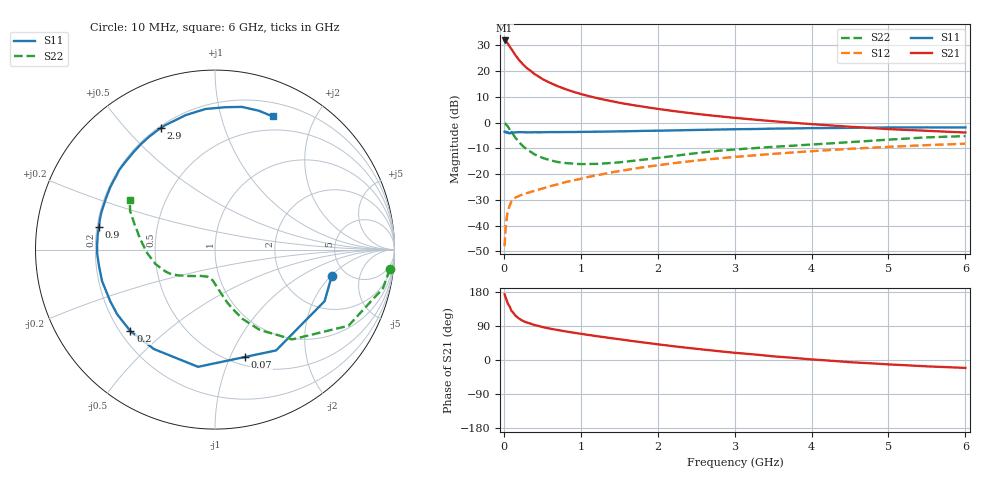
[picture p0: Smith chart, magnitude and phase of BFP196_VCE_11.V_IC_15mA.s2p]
! Infineon Technologies  Discrete & RF Semiconductors
! BFP196
! VCE =  11. V,  IC =  15 mA
! Common Emitter S-Parameters:  Jan 2017
# GHz  S  MA  R  50
!  f  S11  S21  S12  S22
! GHz  MAG  ANG  MAG  ANG  MAG  ANG  MAG  ANG
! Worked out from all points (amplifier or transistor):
!   77 points, 10 MHz to 6 GHz, reference 50 ohm
!   highest |S21| = 31.9 dB at 10 MHz (marker M1)
!   |S21| within 3 dB of that: start of sweep to 90.15 MHz
!   unconditionally stable (mu >= 1): 881.5 MHz to 2.362 GHz
!   at 130 MHz: K = 0.31, MSG = 28.4 dB, |S12| = -29.6 dB
!   at 2.2 GHz: K = 1.02, MAG = 9.4 dB, |S12| = -15.8 dB
!   at 6 GHz: K = 0.90, MSG = 2.2 dB, |S12| = -8.2 dB
!   S11 on the Smith chart (normalised r, x): 10 MHz: 3.85, -2.05; 70 MHz: 0.58, -1.14; 200 MHz: 0.24, -0.38; 900 MHz: 0.21, +0.09; 2.9 GHz: 0.21, +0.63; 6 GHz: 0.34, +1.47
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0.01  0.6668 -12.8  39.56 173.1  0.004 77.7  0.9797 -6.4
0.02  0.6749 -25.2  39.16 166.9  0.008 78.1  0.9603 -13.0
0.05  0.6568 -58.8  34.81 149.6  0.0188 62.9  0.8564 -29.7
0.07  0.6211 -74.5  31.15 142.8  0.0231 56.4  0.7677 -36.3
0.1  0.6599 -98.2  26.73 129.5  0.03 50.2  0.66 -49.3
0.15  0.6502 -121.5  20.5 117.1  0.0352 44.4  0.512 -60.9
0.2  0.6546 -136.1  16.38 109.0  0.0377 42.1  0.4155 -68.3
0.25  0.6534 -146.6  13.51 102.9  0.0413 40.9  0.3488 -73.1
0.3  0.6507 -153.8  11.46 98.8  0.0429 41.4  0.3012 -77.1
0.4  0.6533 -164.5  8.789 92.1  0.0478 43.9  0.2424 -82.6
0.5  0.6527 -172.0  7.084 87.1  0.0525 46.5  0.2082 -87.0
0.6  0.6568 -178.0  5.956 82.8  0.0583 47.8  0.1866 -91.0
0.7  0.6572 177.5  5.118 79.2  0.0636 50.7  0.1724 -94.1
0.9  0.6588 169.0  3.997 72.3  0.0755 53.1  0.1606 -101.1
1.1  0.6662 161.9  3.298 66.2  0.0885 54.4  0.1577 -107.2
1.5  0.6792 149.3  2.442 54.8  0.1149 54.5  0.1698 -120.4
2.1  0.703 132.3  1.771 39.0  0.156 51.3  0.2157 -137.4
2.9  0.7415 113.9  1.286 21.1  0.2096 44.1  0.2936 -154.3
3.1  0.749 109.8  1.205 17.4  0.2223 41.9  0.3091 -158.5
4.1  0.786 92.3  0.916 0.2  0.2858 31.4  0.3847 -179.2
5.1  0.8088 77.9  0.74 -12.6  0.3451 19.8  0.4783 161.2
6  0.8086 66.6  0.644 -20.9  0.391 9.2  0.5495 149.8
